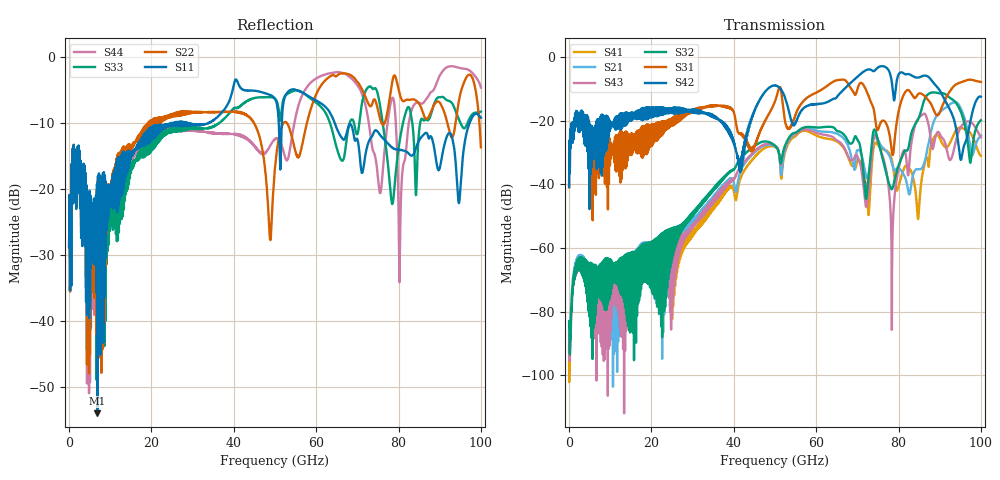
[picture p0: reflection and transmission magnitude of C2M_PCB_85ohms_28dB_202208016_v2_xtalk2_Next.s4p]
! Info: Touchstone file created by Circ.  Input file=Intel_C2M_200G_12p0in_202208016_staggered.circ
# Hz S RI R 50
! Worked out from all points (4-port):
!   10000 points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, 10 MHz to 100 GHz, reference 50 ohm
!   strongest paths, dB at 10 MHz, 25.01 GHz, 50.01 GHz, 75.01 GHz, 100 GHz:
!     S42: -40.8, -16.7, -8.9, -3.3, -12.5
!     S31: -41.0, -20.4, -13.8, -22.8, -7.8
!     S32: -83.1, -63.5, -27.9, -26.1, -19.9
!     S43: -87.0, -81.3, -27.9, -26.7, -25.2
!     S21: -92.4, -65.6, -28.1, -26.0, -24.6
!     S41: -90.7, -82.4, -28.2, -27.6, -31.0
!   lowest |S11| = -53.9 dB at 6.89 GHz (marker M1), VSWR 1.00, Z = 50.2 - j0.0423 ohm
!   |S11| at or under -10 dB: start of sweep to 24.7 GHz; 28.94 GHz to 33.74 GHz (4.8 GHz wide, 15.3 % of centre); 64.51 GHz to 97.26 GHz (32.75 GHz wide, 40.5 % of centre)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
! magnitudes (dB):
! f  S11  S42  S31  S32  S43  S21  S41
! 10 MHz  -28.7  -40.8  -41.0  -83.1  -87.0  -92.4  -90.7
! 6.89 GHz  -53.9  -20.7  -22.9  -70.3  -76.8  -71.5  -74.9
! 56.5 GHz  -5.4  -16.7  -14.5  -22.5  -23.0  -22.5  -23.2
! 74.52 GHz  -11.1  -3.9  -21.1  -23.7  -25.2  -24.6  -27.0
! 78.43 GHz  -13.7  -8.4  -30.1  -41.5  -66.6  -33.6  -32.7
! 85.14 GHz  -12.5  -6.3  -11.4  -18.3  -18.8  -35.3  -44.4
! 100 GHz  -9.2  -12.5  -7.8  -19.9  -25.2  -24.6  -31.0
